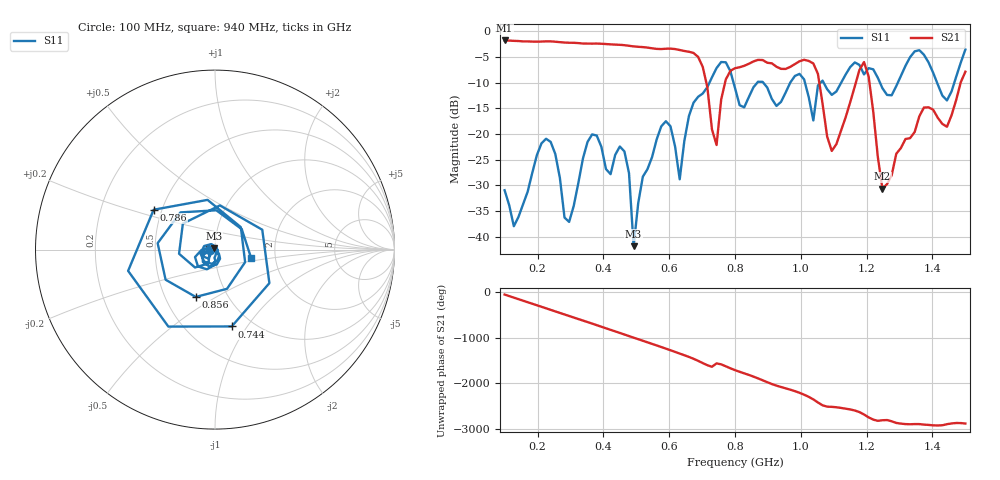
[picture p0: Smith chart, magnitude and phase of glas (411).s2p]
! NanoVNA-App
! Date: 2025-09-25 15:58:40
! Start: 100MHz Stop: 1,5GHz Points: 101
! S-Parameter data: F S11 S21 S12 S22
# Hz S RI R 50
!  Frequency  S11_Real  S11_Imag  S21_Real  S21_Imag  S12_Real  S12_Imag  S22_Real  S22_Imag
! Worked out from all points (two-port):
!   101 points, 100 MHz to 1.5 GHz, reference 50 ohm
!   highest |S21| = -1.80 dB at 100 MHz (marker M1); lowest = -30.7 dB at 1.248 GHz (marker M2)
!   |S21| within 3 dB of the highest: start of sweep to 684.4 MHz
!   lowest |S11| = -41.8 dB at 492 MHz (marker M3), VSWR 1.02, Z = 49.5 + j0.634 ohm
!   |S11| at or under -10 dB: start of sweep to 722.5 MHz; 795.5 MHz to 867.8 MHz (72.34 MHz wide, 8.7 % of centre); 885.8 MHz to 967.9 MHz (82.08 MHz wide, 8.86 % of centre) (the widest 3 of 7)
!   S12 and S22 are empty: the file has one direction only
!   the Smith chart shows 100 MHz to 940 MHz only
!   S11 on the Smith chart (normalised r, x): 100 MHz: 0.95, -0.01; 744 MHz: 0.80, -0.85; 786 MHz: 0.45, +0.24; 856 MHz: 0.71, -0.41; 940 MHz: 1.49, -0.14
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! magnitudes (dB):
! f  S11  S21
! 100 MHz  -30.9  -1.8
! 128 MHz  -37.9  -1.9
! 226 MHz  -20.9  -2.0
! 296 MHz  -37.1  -2.2
! 338 MHz  -24.8  -2.4
! 464 MHz  -23.4  -2.7
! 492 MHz  -41.8  -3.0
! 576 MHz  -18.5  -3.5
! 632 MHz  -28.8  -3.7
! 702 MHz  -12.1  -7.0
! 744 MHz  -7.2  -22.1
! 786 MHz  -7.8  -7.7
! 800 MHz  -11.1  -7.2
! 856 MHz  -10.9  -5.9
! 940 MHz  -13.7  -7.3
! 1.038 GHz  -17.4  -6.3
! 1.094 GHz  -12.4  -23.3
! 1.192 GHz  -8.4  -6.0
! 1.248 GHz  -11.1  -30.7
! 1.276 GHz  -12.5  -28.0
! 1.444 GHz  -13.5  -18.6
! 1.5 GHz  -3.6  -7.9
